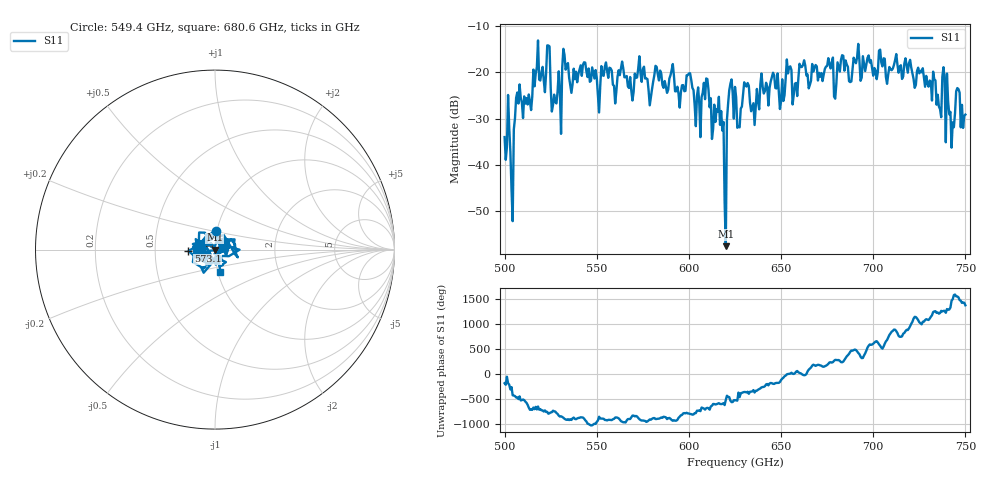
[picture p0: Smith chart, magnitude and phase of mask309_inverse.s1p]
!Created with skrf (http://scikit-rf.org).
# GHz S MA R 50.0
!freq magS11 angS11
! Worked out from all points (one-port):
!   401 points, 500 GHz to 750 GHz, reference 50 ohm
!   lowest |S11| = -57.5 dB at 620 GHz (marker M1), VSWR 1.00, Z = 49.9 - j0.0627 ohm
!   |S11| at or under -10 dB: start of sweep to end of sweep
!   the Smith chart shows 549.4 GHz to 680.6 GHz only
!   S11 on the Smith chart (normalised r, x): 549.4 GHz: 0.99, +0.21; 573.1 GHz: 0.74, -0.01; 680.6 GHz: 1.03, -0.26
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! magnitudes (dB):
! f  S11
! 500 GHz  -34.0
! 504.4 GHz  -52.1
! 506.9 GHz  -24.4
! 513.8 GHz  -26.4
! 516.9 GHz  -20.4
! 523.8 GHz  -14.3
! 526.9 GHz  -24.8
! 531.2 GHz  -19.1
! 549.4 GHz  -19.6
! 562.5 GHz  -20.7
! 573.1 GHz  -16.6
! 593.8 GHz  -23.1
! 600 GHz  -20.3
! 605 GHz  -23.3
! 609.4 GHz  -21.4
! 617.5 GHz  -28.4
! 618.8 GHz  -30.7
! 620 GHz  -57.5
! 621.9 GHz  -23.9
! 625 GHz  -23.2
! 656.2 GHz  -27.0
! 680.6 GHz  -17.9
! 687.5 GHz  -22.1
! 718.8 GHz  -20.1
! 738.8 GHz  -21.7
! 742.5 GHz  -36.3
! 745.6 GHz  -23.4
! 750 GHz  -29.2
